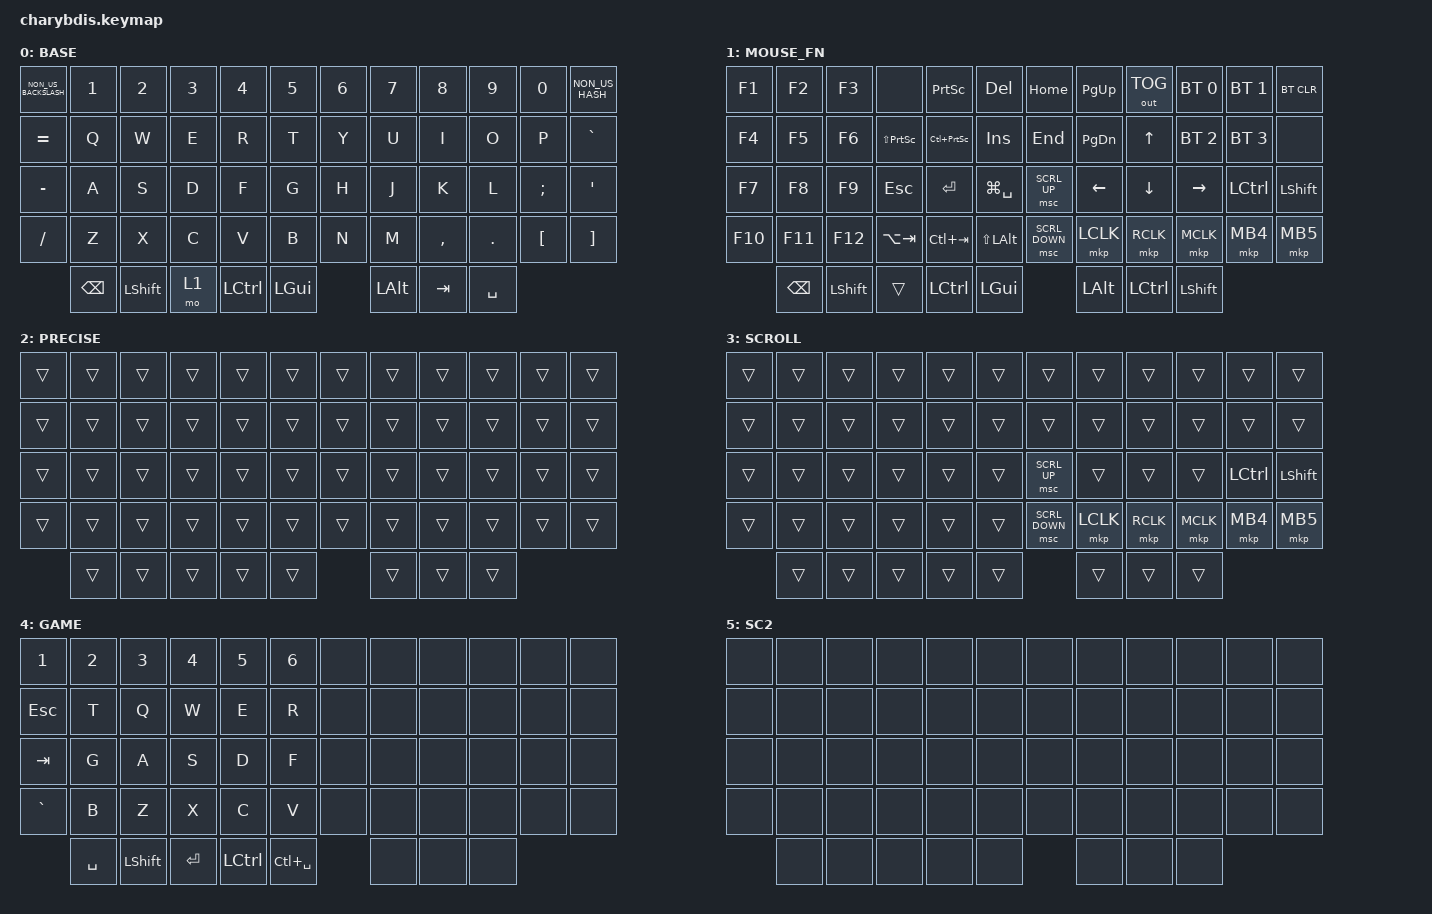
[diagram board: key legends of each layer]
#include <dt-bindings/zmk/mouse.h>
#include <behaviors/mouse_keys.dtsi>
#include <behaviors.dtsi>
#include <dt-bindings/zmk/bt.h>
#include <dt-bindings/zmk/keys.h>
#include <dt-bindings/zmk/outputs.h>
#include <dt-bindings/zmk/pointing.h>
#include "combos.dtsi"

/ {
    chosen { zmk,matrix_transform = &default_transform; };
};

&mt {
    quick-tap-ms = <100>;
    global-quick-tap;
    flavor = "tap-preferred";
    tapping-term-ms = <170>;
};

&lt {
    quick-tap-ms = <100>;
    global-quick-tap;
    flavor = "tap-preferred";
    tapping-term-ms = <170>;
};

/ {
    keymap {
        compatible = "zmk,keymap";

        BASE {
            bindings = <
        &kp NON_US_BACKSLASH  &kp N1      &kp N2      &kp N3      &kp N4      &kp N5        &kp N6      &kp N7      &kp N8      &kp N9      &kp N0      &kp NON_US_HASH
        &kp EQUAL             &kp Q       &kp W       &kp E       &kp R       &kp T         &kp Y       &kp U       &kp I       &kp O       &kp P       &kp GRAVE
        &kp MINUS             &kp A       &kp S       &kp D       &kp F       &kp G         &kp H       &kp J       &kp K       &kp L       &kp SEMI    &kp APOS
        &kp SLASH             &kp Z       &kp X       &kp C       &kp V       &kp B         &kp N       &kp M       &kp COMMA   &kp DOT     &kp LBKT    &kp RBKT
                              &kp BSPC    &kp LSHIFT  &mo 1       &kp LCTRL   &kp LGUI                  &kp LALT    &kp TAB     &kp SPACE
            >;
        };

        MOUSE_FN {
            bindings = <
        &kp F1    &kp F2    &kp F3         &none             &kp PRINTSCREEN   &kp DEL           &kp HOME         &kp PG_UP    &out OUT_TOG     &bt BT_SEL 0     &bt BT_SEL 1     &bt BT_CLR
        &kp F4    &kp F5    &kp F6         &kp LS(PSCRN)     &kp LC(PSCRN)     &kp INS           &kp END          &kp PG_DN    &kp UP           &bt BT_SEL 2     &bt BT_SEL 3     &none
        &kp F7    &kp F8    &kp F9         &kp ESC           &kp ENTER         &kp LG(SPACE)     &msc SCRL_UP     &kp LEFT     &kp DOWN         &kp RIGHT        &kp LCTRL        &kp LSHIFT
        &kp F10   &kp F11   &kp F12        &kp LA(TAB)       &kp LC(TAB)       &kp LS(LALT)      &msc SCRL_DOWN   &mkp LCLK    &mkp RCLK        &mkp MCLK        &mkp MB4         &mkp MB5
                  &kp BSPC  &kp LSHIFT     &trans            &kp LCTRL         &kp LGUI                           &kp LALT     &kp LCTRL        &kp LSHIFT
            >;
        };

        PRECISE {
            bindings = <
        &trans  &trans  &trans  &trans  &trans  &trans          &trans        &trans    &trans    &trans    &trans  &trans
        &trans  &trans  &trans  &trans  &trans  &trans          &trans        &trans    &trans    &trans    &trans  &trans
        &trans  &trans  &trans  &trans  &trans  &trans          &trans        &trans    &trans    &trans    &trans  &trans
        &trans  &trans  &trans  &trans  &trans  &trans          &trans        &trans    &trans    &trans    &trans  &trans
                &trans  &trans  &trans  &trans  &trans          &trans &trans &trans
            >;
        };

        SCROLL {
            bindings = <
        &trans  &trans  &trans  &trans  &trans  &trans          &trans        &trans    &trans    &trans    &trans  &trans
        &trans  &trans  &trans  &trans  &trans  &trans          &trans        &trans    &trans    &trans    &trans  &trans
        &trans  &trans  &trans  &trans  &trans  &trans          &msc SCRL_UP  &trans    &trans    &trans    &kp LCTRL &kp LSHIFT
        &trans  &trans  &trans  &trans  &trans  &trans          &msc SCRL_DOWN &mkp LCLK &mkp RCLK &mkp MCLK &mkp MB4 &mkp MB5
                &trans  &trans  &trans  &trans  &trans          &trans &trans &trans
            >;
        };

        GAME {
            bindings = <
        &kp N1     &kp N2  &kp N3  &kp N4  &kp N5  &kp N6          &none  &none  &none  &none  &none  &none
        &kp ESC    &kp T   &kp Q   &kp W   &kp E   &kp R           &none  &none  &none  &none  &none  &none
        &kp TAB    &kp G   &kp A   &kp S   &kp D   &kp F           &none  &none  &none  &none  &none  &none
        &kp GRAVE  &kp B   &kp Z   &kp X   &kp C   &kp V           &none  &none  &none  &none  &none  &none
        &kp SPACE  &kp LSHIFT  &kp ENTER   &kp LCTRL  &kp LC(SPACE)       &none  &none  &none
            >;
        };

        SC2 {
            bindings = <
        &none  &none  &none  &none  &none  &none          &none  &none  &none  &none  &none  &none
        &none  &none  &none  &none  &none  &none          &none  &none  &none  &none  &none  &none
        &none  &none  &none  &none  &none  &none          &none  &none  &none  &none  &none  &none
        &none  &none  &none  &none  &none  &none          &none  &none  &none  &none  &none  &none
               &none  &none  &none  &none  &none          &none  &none  &none
            >;
        };
    };
};
